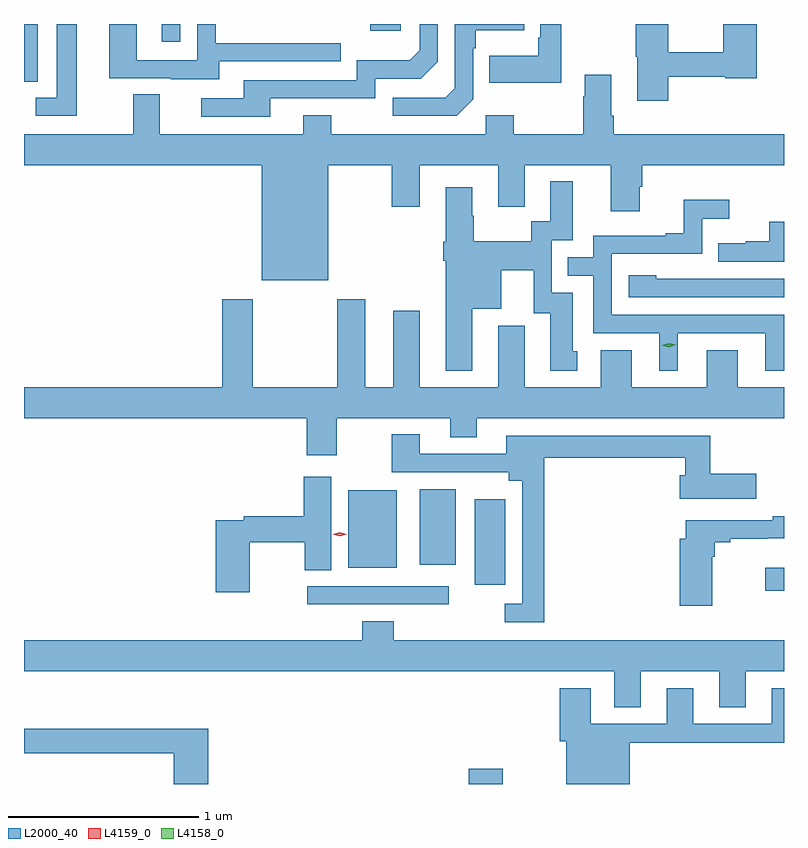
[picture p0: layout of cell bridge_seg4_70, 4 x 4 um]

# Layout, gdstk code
import gdstk
lib = gdstk.Library(unit=1e-6, precision=1e-09)
def R(c, l, rs):  # rectangles x0, y0, x1, y1
    for r in rs: c.add(gdstk.rectangle(r[:2], r[2:], *l))
def P(c, l, *ps):  # polygons
    for p in ps: c.add(gdstk.Polygon(p, *l))
L2000_40 = (2000, 40)
L4158_0 = (4158, 0)
L4159_0 = (4159, 0)

bridge_seg4_70 = lib.new_cell('bridge_seg4_70')
R(bridge_seg4_70, L2000_40, [(721.664,765.591,721.842,765.67), (720.813,766.536,721.558,766.632), (723.222,766.607,723.322,766.729), (721.694,766.641,721.855,767.089), (721.028,766.73,721.285,767.137), (721.406,766.745,721.594,767.143), (719.322,769.288,719.394,769.591), (720.047,769.497,720.144,769.591)])
P(bridge_seg4_70, L2000_40, [(722.712,769.314),(723.012,769.314),(723.012,769.306),(723.179,769.306),(723.179,769.591),(723.001,769.591),(723.001,769.442),(722.712,769.442),(722.712,769.591),(722.542,769.591),(722.542,769.419),(722.549,769.419),(722.549,769.188),(722.712,769.188)],
  [(719.599,769.591),(719.495,769.591),(719.495,769.203),(719.385,769.203),(719.385,769.107),(719.599,769.107)],
  [(722.149,769.591),(722.04,769.591),(722.04,769.519),(722.028,769.519),(722.028,769.423),(721.771,769.423),(721.771,769.283),(722.149,769.283)],
  [(721.686,769.194),(721.686,769.463),(721.699,769.463),(721.699,769.559),(721.955,769.559),(721.955,769.591),(721.59,769.591),(721.59,769.254),(721.539,769.203),(721.263,769.203),(721.263,769.107),(721.599,769.107)],
  [(720.349,769.395),(720.989,769.395),(720.989,769.491),(720.33,769.491),(720.33,769.591),(720.234,769.591),(720.234,769.401),(719.916,769.401),(719.916,769.591),(719.771,769.591),(719.771,769.305),(720.095,769.305),(720.095,769.301),(720.349,769.301)],
  [(721.306,769.591),(720.42,769.591),(720.42,769.59),(721.145,769.59),(721.145,769.556),(721.306,769.556)],
  [(720.619,769.2),(721.17,769.2),(721.17,769.302),(721.41,769.302),(721.5,769.392),(721.5,769.591),(721.404,769.591),(721.404,769.452),(721.351,769.399),(721.074,769.399),(721.074,769.296),(720.479,769.296),(720.479,769.2),(720.255,769.2),(720.255,769.104),(720.619,769.104)],
  [(721.817,768.63),(721.957,768.63),(721.957,768.848),(722.411,768.848),(722.411,768.606),(722.563,768.606),(722.563,768.735),(722.576,768.735),(722.576,768.848),(723.322,768.848),(723.322,769.012),(722.426,769.012),(722.426,769.108),(722.413,769.108),(722.413,769.324),(722.273,769.324),(722.273,769.211),(722.266,769.211),(722.266,769.012),(721.899,769.012),(721.899,769.111),(721.752,769.111),(721.752,769.012),(720.939,769.012),(720.939,769.111),(720.791,769.111),(720.791,769.012),(720.037,769.012),(720.037,769.22),(719.897,769.22),(719.897,769.012),(719.322,769.012),(719.322,768.848),(720.572,768.848),(720.572,768.242),(720.922,768.242),(720.922,768.848),(721.258,768.848),(721.258,768.63),(721.405,768.63),(721.405,768.848),(721.817,768.848)],
  [(721.681,768.092),(721.834,768.092),(721.834,768.296),(722.004,768.296),(722.004,768.069),(722.093,768.069),(722.093,767.766),(722.233,767.766),(722.233,767.868),(722.209,767.868),(722.209,768.177),(722.1,768.177),(722.1,768.453),(722.209,768.453),(722.209,768.763),(722.093,768.763),(722.093,768.554),(721.992,768.554),(721.992,768.448),(721.689,768.448),(721.689,768.582),(721.681,768.582),(721.681,768.733),(721.541,768.733),(721.541,768.444),(721.529,768.444),(721.529,768.344),(721.541,768.344),(721.541,767.765),(721.681,767.765)],
  [(722.764,767.964),(723.224,767.964),(723.224,767.765),(723.322,767.765),(723.322,768.06),(722.415,768.06),(722.415,768.381),(722.892,768.381),(722.892,768.566),(723.034,768.566),(723.034,768.665),(722.794,768.665),(722.794,768.49),(722.699,768.49),(722.699,768.477),(722.319,768.477),(722.319,768.363),(722.185,768.363),(722.185,768.267),(722.319,768.267),(722.319,767.964),(722.666,767.964),(722.666,767.765),(722.764,767.765)],
  [(723.322,768.549),(723.245,768.549),(723.245,768.448),(723.121,768.448),(723.121,768.436),(722.977,768.436),(722.977,768.339),(723.322,768.339)],
  [(723.322,768.249),(722.885,768.249),(722.885,768.25),(722.649,768.25),(722.649,768.268),(722.505,768.268),(722.505,768.153),(723.322,768.153)],
  [(721.405,768.082),(721.265,768.082),(721.265,767.68),(721.117,767.68),(721.117,768.142),(720.97,768.142),(720.97,767.68),(720.525,767.68),(720.525,768.142),(720.365,768.142),(720.365,767.68),(719.322,767.68),(719.322,767.516),(720.809,767.516),(720.809,767.322),(720.969,767.322),(720.969,767.516),(721.565,767.516),(721.565,767.417),(721.705,767.417),(721.705,767.516),(723.322,767.516),(723.322,767.68),(723.079,767.68),(723.079,767.875),(722.915,767.875),(722.915,767.68),(722.521,767.68),(722.521,767.875),(722.357,767.875),(722.357,767.68),(721.957,767.68),(721.957,768.004),(721.817,768.004),(721.817,767.68),(721.405,767.68)],
  [(722.06,767.308),(722.801,767.308),(722.801,767.215),(722.774,767.215),(722.774,767.093),(723.175,767.093),(723.175,767.223),(722.933,767.223),(722.933,767.424),(721.859,767.424),(721.859,767.328),(721.405,767.328),(721.405,767.431),(721.258,767.431),(721.258,767.232),(721.874,767.232),(721.874,767.186),(721.944,767.186),(721.944,766.539),(721.851,766.539),(721.851,766.443),(722.06,766.443)],
  [(720.51,766.864),(720.799,766.864),(720.799,766.717),(720.94,766.717),(720.94,767.209),(720.794,767.209),(720.794,767),(720.478,767),(720.478,766.98),(720.332,766.98),(720.332,766.599),(720.51,766.599)],
  [(722.944,766.787),(722.957,766.787),(722.957,766.864),(723.04,766.864),(723.04,766.883),(723.234,766.883),(723.234,766.884),(723.322,766.884),(723.322,767),(723.262,767),(723.262,766.98),(722.804,766.98),(722.804,766.882),(722.774,766.882),(722.774,766.53),(722.944,766.53)],
  [(722.569,766.184),(722.981,766.184),(722.981,765.994),(723.121,765.994),(723.121,766.184),(723.322,766.184),(723.322,766.348),(721.268,766.348),(721.268,766.447),(721.103,766.447),(721.103,766.348),(719.322,766.348),(719.322,766.184),(722.429,766.184),(722.429,765.994),(722.569,765.994)],
  [(722.509,765.808),(723.322,765.808),(723.322,766.096),(723.257,766.096),(723.257,765.909),(722.845,765.909),(722.845,766.096),(722.705,766.096),(722.705,765.909),(722.305,765.909),(722.305,766.096),(722.141,766.096),(722.141,765.816),(722.177,765.816),(722.177,765.591),(722.509,765.591)],
  [(720.293,765.883),(719.322,765.883),(719.322,765.754),(720.11,765.754),(720.11,765.591),(720.293,765.591)])
P(bridge_seg4_70, L4158_0, [(722.715,767.891),(722.679,767.9),(722.679,767.9),(722.679,767.9),(722.715,767.911),(722.751,767.902),(722.751,767.902),(722.751,767.902)])
P(bridge_seg4_70, L4159_0, [(720.983,766.895),(720.946,766.905),(720.946,766.905),(720.946,766.905),(720.983,766.915),(721.02,766.905),(721.02,766.905),(721.02,766.905)])

lib.write_gds('bridge_seg4_70.gds')
